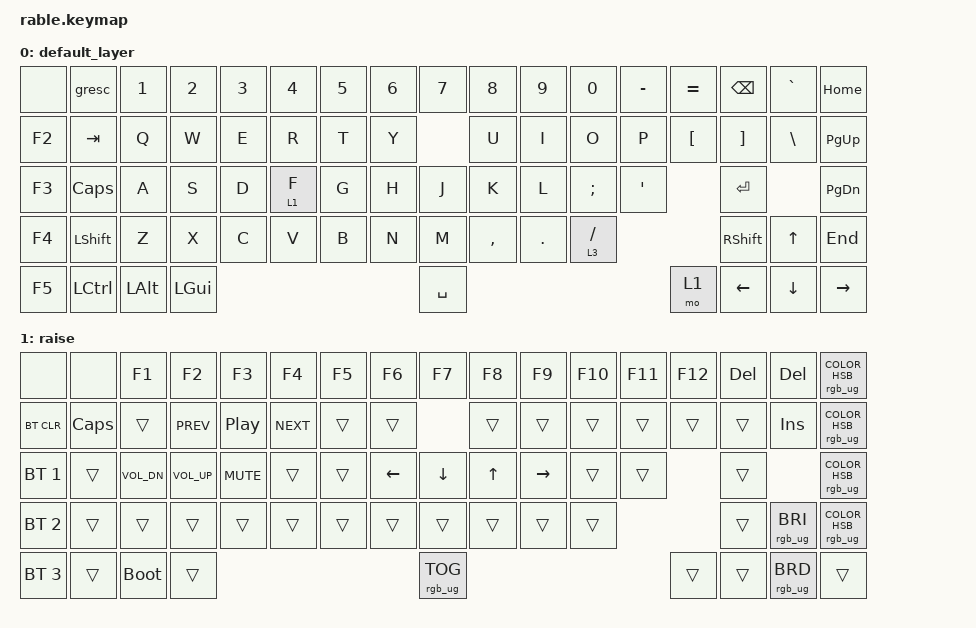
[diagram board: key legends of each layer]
/*
 * Copyright (c) 2021 Nick Winans
 *
 * SPDX-License-Identifier: MIT
 */

#include <behaviors.dtsi>
#include <dt-bindings/zmk/keys.h>
#include <dt-bindings/zmk/bt.h>
#include <dt-bindings/zmk/outputs.h>
#include <dt-bindings/zmk/rgb.h>

#define xxx &none

//color remapping
#define blue   &rgb_ug RGB_COLOR_HSB(240, 100, 100)
#define red    &rgb_ug RGB_COLOR_HSB(0, 100, 100)
#define green  &rgb_ug RGB_COLOR_HSB(120, 100, 100)
#define purple &rgb_ug RGB_COLOR_HSB(300, 100, 100)


&lt {
    tapping-term-ms = <444>;
};


/ {
  keymap {
    compatible = "zmk,keymap";
    
    default_layer {
        // ----------------------------------------------------------------------------------------------------------
        // | F1  | ESC |  1  |  2  |  3  |  4  |  5  |  6  |  7  |  8  |  9  |  0  |  -  |  =  |   BKSP  |  ~ | HOME    |
        // | F2  | TAB  |  Q  |  W  |  E  |  R  |  T  |  Y  |  U  |  I  |  O  |  P  |  [  |  ]  |   \   | PG UP   |
        // | F3  | CTRL  |  A  |  S   | D  |  F(1)  |  G  |  H  |  J  |  K  |  L  |  ;  |  '  |     ENTER     | PG DOWN |
        // | F4  |  SHIFT  |  Z  |  X  |  C  |  V  |  B  |  N  |  M  |  ,  |  .  |  /  |   SHIFT   |  UP   | END     |
        // | F5  |  CTRL  |  ALT  |  WIN  |                SPACE                |  MO(1)  |  LEFT  |  DOWN | RIGHT   |
        // ----------------------------------------------------------------------------------------------------------
      bindings = <
        xxx     &gresc     &kp N1   &kp N2   &kp N3   &kp N4   &kp N5   &kp N6   &kp N7   &kp N8     &kp N9   &kp N0    &kp MINUS  &kp EQUAL  &kp BSPC   &kp GRAVE   &kp HOME
        &kp F2  &kp TAB    &kp Q    &kp W    &kp E    &kp R    &kp T    &kp Y    &kp U    &kp I      &kp O    &kp P     &kp LBKT   &kp RBKT       &kp BSLH        &kp PG_UP
        &kp F3  &kp CAPS   &kp A    &kp S  &kp D    &lt 1 F    &kp G    &kp H    &kp J    &kp K      &kp L    &kp SEMI  &kp SQT           &kp RET                 &kp PG_DN
        &kp F4  &kp LSHFT  &kp Z    &kp X    &kp C    &kp V    &kp B    &kp N    &kp M    &kp COMMA  &kp DOT  &lt 3 FSLH                      &kp RSHFT   &kp UP    &kp END
        &kp F5  &kp LCTRL  &kp LALT &kp LGUI                                  &kp SPACE                                        &mo 1    &kp LEFT      &kp DOWN  &kp RIGHT
      >;
    };

    raise {
        // --------------------------------------------------------------------------------------------------------------
        // | xx  |     |  F1  |  F2  |  F3  |  F4  |  F5  |  F6  |  F7  |  F8  |  F9  |  F10  |  F11  |  F12  | INS | DEL |     |
        // | BT CLR  | Caps |     |  Prev   |  Play   |  Next   |     |     |     |     |     |     |     |     |      |     Clear        |     |
        // | BT 1    |        | Vol_DOWN  |  Vol_UP   |  Mute  |     |     |LEFT |DOWN |  UP |RIGHT|     |     |     |     |                 |     |
        // | BT 2    |          |     |     |     |     |     |     |     |     |     |     |     |     |     |       |       |     |
        // | BT 3    |        |     |     |                        RBG Toggle                          |         |        |      |     |
        // ---------------------------------------------------------------------------------------------------------------
      bindings = <
         xxx      xxx    &kp F1   &kp F2   &kp F3   &kp F4   &kp F5   &kp F6   &kp F7   &kp F8     &kp F9   &kp F10    &kp F11  &kp F12  &kp DEL  &kp DEL                         blue
        &bt BT_CLR     &kp CAPS   &trans   &kp C_PREV    &kp C_PP   &kp C_NEXT    &trans   &trans    &trans   &trans    &trans   &trans    &trans   &trans         &kp INS         red
        &bt BT_SEL 1   &trans &kp C_VOL_DN   &kp C_VOL_UP    &kp C_MUTE   &trans  &trans   &kp LEFT  &kp DOWN &kp UP   &kp RIGHT    &trans    &trans            &trans            green
        &bt BT_SEL 2   &trans  &trans   &trans    &trans   &trans    &trans    &trans    &trans   &trans    &trans   &trans                       &trans    &rgb_ug RGB_BRI       purple 
        &bt BT_SEL 3   &trans  &bootloader   &trans                                   &rgb_ug RGB_TOG                                        &trans    &trans   &rgb_ug RGB_BRD   &trans
      >;
    };


  };
};
